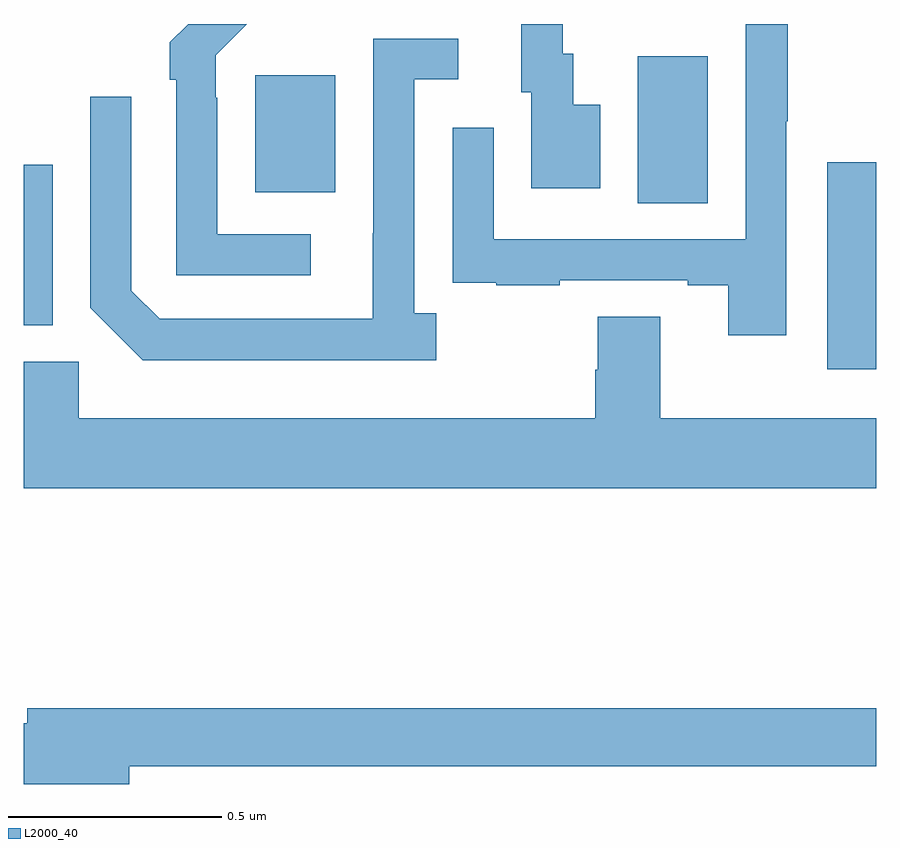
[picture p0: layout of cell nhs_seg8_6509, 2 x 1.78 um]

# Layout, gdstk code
import gdstk
lib = gdstk.Library(unit=1e-6, precision=1e-09)
def R(c, l, rs):  # rectangles x0, y0, x1, y1
    for r in rs: c.add(gdstk.rectangle(r[:2], r[2:], *l))
def P(c, l, *ps):  # polygons
    for p in ps: c.add(gdstk.Polygon(p, *l))
L2000_40 = (2000, 40)

nhs_seg8_6509 = lib.new_cell('nhs_seg8_6509')
R(nhs_seg8_6509, L2000_40, [(198.884,1138.091,199,1138.576), (197,1138.194,197.068,1138.57), (198.44,1138.48,198.604,1138.824), (197.543,1138.505,197.731,1138.78)])
P(nhs_seg8_6509, L2000_40, [(197.674,1138.407),(197.454,1138.407),(197.454,1138.727),(197.451,1138.727),(197.451,1138.827),(197.524,1138.9),(197.386,1138.9),(197.343,1138.857),(197.343,1138.769),(197.358,1138.769),(197.358,1138.311),(197.674,1138.311)],
  [(198.352,1138.711),(198.289,1138.711),(198.289,1138.83),(198.264,1138.83),(198.264,1138.9),(198.167,1138.9),(198.167,1138.74),(198.191,1138.74),(198.191,1138.515),(198.352,1138.515)],
  [(198.789,1138.672),(198.792,1138.672),(198.792,1138.9),(198.693,1138.9),(198.693,1138.395),(198.102,1138.395),(198.102,1138.657),(198.006,1138.657),(198.006,1138.402),(198.007,1138.402),(198.007,1138.293),(198.109,1138.293),(198.109,1138.287),(198.257,1138.287),(198.257,1138.299),(198.557,1138.299),(198.557,1138.287),(198.653,1138.287),(198.653,1138.17),(198.789,1138.17)],
  [(197.968,1138.222),(197.916,1138.222),(197.916,1138.77),(198.019,1138.77),(198.019,1138.866),(197.82,1138.866),(197.82,1138.409),(197.819,1138.409),(197.819,1138.209),(197.319,1138.209),(197.253,1138.275),(197.253,1138.729),(197.157,1138.729),(197.157,1138.235),(197.28,1138.112),(197.968,1138.112)],
  [(199,1137.976),(198.493,1137.976),(198.493,1138.214),(198.346,1138.214),(198.346,1138.089),(198.341,1138.089),(198.341,1137.976),(197.13,1137.976),(197.13,1138.108),(197,1138.108),(197,1137.812),(199,1137.812)],
  [(197.248,1137.16),(199,1137.16),(199,1137.296),(197.009,1137.296),(197.009,1137.26),(197,1137.26),(197,1137.118),(197.248,1137.118)])

lib.write_gds('nhs_seg8_6509.gds')
